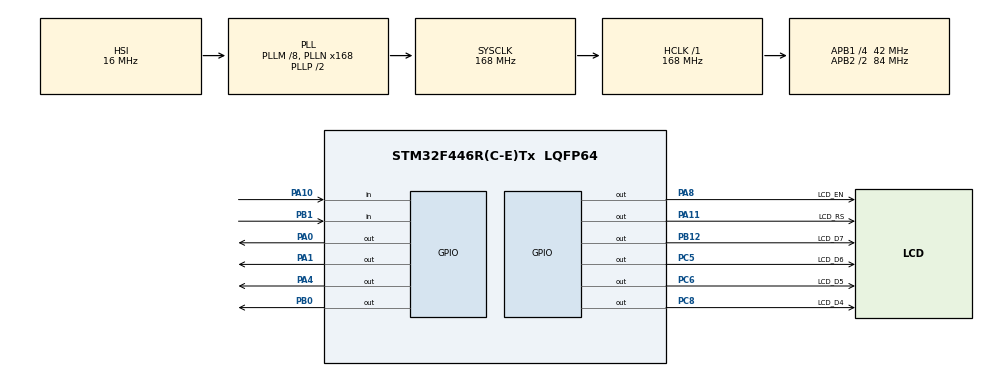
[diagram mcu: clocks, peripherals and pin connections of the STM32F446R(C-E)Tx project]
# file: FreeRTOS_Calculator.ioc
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Mcu.Family=STM32F4
Mcu.Name=STM32F446R(C-E)Tx
Mcu.Package=LQFP64
NVIC.PriorityGroup=NVIC_PRIORITYGROUP_4
NVIC.TIM6_DAC_IRQn=true\:15\:0\:true\:false\:true\:false\:true\:true
NVIC.TimeBase=TIM6_DAC_IRQn
NVIC.TimeBaseIP=TIM6
PA0-WKUP.Signal=GPIO_Output
PA1.Signal=GPIO_Output
PA10.Signal=GPIO_Input
PA11.GPIO_Label=LCD_RS
PA11.Signal=GPIO_Output
PA13.GPIO_Label=TMS
PA13.Mode=Serial_Wire
PA13.Signal=SYS_JTMS-SWDIO
PA14.GPIO_Label=TCK
PA14.Mode=Serial_Wire
PA14.Signal=SYS_JTCK-SWCLK
PA2.Signal=USART2_TX
PA3.Signal=USART2_RX
PA4.Signal=GPIO_Output
PA8.GPIO_Label=LCD_EN
PA8.Signal=GPIO_Output
PB0.Signal=GPIO_Output
PB1.Signal=GPIO_Input
PB12.GPIO_Label=LCD_D7
PB12.Signal=GPIO_Output
PB3.GPIO_Label=SWO
PB3.Signal=SYS_JTDO-SWO
PC14-OSC32_IN.Mode=LSE-External-Oscillator
PC14-OSC32_IN.Signal=RCC_OSC32_IN
PC15-OSC32_OUT.Mode=LSE-External-Oscillator
PC15-OSC32_OUT.Signal=RCC_OSC32_OUT
PC5.GPIO_Label=LCD_D6
PC5.Signal=GPIO_Output
PC6.GPIO_Label=LCD_D5
PC6.Signal=GPIO_Output
PC8.GPIO_Label=LCD_D4
PC8.Signal=GPIO_Output
PH0-OSC_IN.Mode=HSE-External-Oscillator
PH0-OSC_IN.Signal=RCC_OSC_IN
PH1-OSC_OUT.Mode=HSE-External-Oscillator
PH1-OSC_OUT.Signal=RCC_OSC_OUT
ProjectManager.HeapSize=0x200
ProjectManager.StackSize=0x400
ProjectManager.TargetToolchain=STM32CubeIDE
RCC.48MHZClocksFreq_Value=84000000
RCC.AHBFreq_Value=168000000
RCC.APB1CLKDivider=RCC_HCLK_DIV4
RCC.APB1Freq_Value=42000000
RCC.APB1TimFreq_Value=84000000
RCC.APB2CLKDivider=RCC_HCLK_DIV2
RCC.APB2Freq_Value=84000000
RCC.APB2TimFreq_Value=168000000
RCC.CortexFreq_Value=168000000
RCC.FLatency-AdvancedSettings=FLASH_LATENCY_5
RCC.HCLKFreq_Value=168000000
RCC.HSE_VALUE=8000000
RCC.HSI_VALUE=16000000
RCC.PLLM=8
RCC.PLLN=168
RCC.SYSCLKFreq_VALUE=168000000
RCC.SYSCLKSource=RCC_SYSCLKSOURCE_PLLCLK
RCC.USBFreq_Value=168000000
RCC.VCOOutputFreq_Value=336000000
VP_SYS_VS_tim6.Mode=TIM6
board=NUCLEO-F446RE

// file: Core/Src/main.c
/* USER CODE BEGIN Header */
/**
  ******************************************************************************
  * @file           : main.c
  * @brief          : Main program body
  ******************************************************************************
  * @attention
  *
  * Copyright (c) 2024 STMicroelectronics.
  * All rights reserved.
  *
  * This software is licensed under terms that can be found in the LICENSE file
  * in the root directory of this software component.
  * If no LICENSE file comes with this software, it is provided AS-IS.
  *
  ******************************************************************************
  */
/* USER CODE END Header */
#include "main.h"

/* USER CODE BEGIN Includes */
#include "FreeRTOS.h"
#include "task.h"
#include "queue.h"
#include "stdio.h"
#include "stdint.h"
#include "KEYPAD_Interface.h"
#include "LCD1602.h"

/* USER CODE END Includes */

/* USER CODE BEGIN PD */
#define DWT_CTRL		*((volatile uint32_t*)0xE0001000 )
/* USER CODE END PD */

/* USER CODE BEGIN PV */
TaskHandle_t KPTaskHandle, LCDTaskHandle, CalculationTaskHandle;
int32_t G_i32ArrNumbers[10];
uint8_t G_u8ArrOperations[9];

QueueHandle_t xQueueInputNumbers;
QueueHandle_t xQueueInputOperations;

/* USER CODE END PV */

void SystemClock_Config(void);
static void MX_GPIO_Init(void);
/* USER CODE BEGIN PFP */

void KPTaskHandler(void * Parameters);
void LCDTaskHandler(void * Parameters);
void CalculationTaskHandler(void * Parameters);
void UserButtonTaskHandler(void );

/* USER CODE END PFP */

int main(void)
{
  /* USER CODE BEGIN 1 */

	BaseType_t Local_Status;

  /* USER CODE END 1 */

  /* MCU Configuration--------------------------------------------------------*/

  /* Reset of all peripherals, Initializes the Flash interface and the Systick. */
  HAL_Init();

  /* Configure the system clock */
  SystemClock_Config();

  /* Initialize all configured peripherals */
  MX_GPIO_Init();
  /* USER CODE BEGIN 2 */

  /* Enable Cycle counter feature of the processor */
  DWT_CTRL |= 1;

  SEGGER_UART_init(500000);

  /* Configure Sysview target source files and start recording */
  SEGGER_SYSVIEW_Conf();
//  SEGGER_SYSVIEW_Start();

  lcd_init();
  lcd_clear();
  lcd_send_string("Advanced Calculator");
  HAL_Delay(1000);
  lcd_clear();

  xQueueInputNumbers = xQueueCreate(10, sizeof(int32_t));
  xQueueInputOperations = xQueueCreate(10, sizeof(uint8_t));

  Local_Status = xTaskCreate(KPTaskHandler, "KEYPAD", 300, NULL, 3, &KPTaskHandle);

  configASSERT(Local_Status  == pdPASS);

  Local_Status = xTaskCreate(LCDTaskHandler, "LCD", 400, NULL, 1, &LCDTaskHandle);

  configASSERT(Local_Status  == pdPASS);

  Local_Status = xTaskCreate(CalculationTaskHandler, "Calculation", 300, NULL, 2, &CalculationTaskHandle);

  configASSERT(Local_Status  == pdPASS);

//  Local_Status = xTaskCreate(UserButtonTaskHandler, "User-Button", 200, NULL, 3, &TasksHandle[3]);

  configASSERT(Local_Status  == pdPASS);

  vTaskStartScheduler();

  /* USER CODE END 2 */

  /* Infinite loop */
  while (1)
  {

  }
}

void SystemClock_Config(void)
{
  RCC_OscInitTypeDef RCC_OscInitStruct = {0};
  RCC_ClkInitTypeDef RCC_ClkInitStruct = {0};

  /** Configure the main internal regulator output voltage
  */
  __HAL_RCC_PWR_CLK_ENABLE();
  __HAL_PWR_VOLTAGESCALING_CONFIG(PWR_REGULATOR_VOLTAGE_SCALE1);

  /** Initializes the RCC Oscillators according to the specified parameters
  * in the RCC_OscInitTypeDef structure.
  */
  RCC_OscInitStruct.OscillatorType = RCC_OSCILLATORTYPE_HSI;
  RCC_OscInitStruct.HSIState = RCC_HSI_ON;
  RCC_OscInitStruct.HSICalibrationValue = RCC_HSICALIBRATION_DEFAULT;
  RCC_OscInitStruct.PLL.PLLState = RCC_PLL_ON;
  RCC_OscInitStruct.PLL.PLLSource = RCC_PLLSOURCE_HSI;
  RCC_OscInitStruct.PLL.PLLM = 8;
  RCC_OscInitStruct.PLL.PLLN = 168;
  RCC_OscInitStruct.PLL.PLLP = RCC_PLLP_DIV2;
  RCC_OscInitStruct.PLL.PLLQ = 2;
  RCC_OscInitStruct.PLL.PLLR = 2;
  if (HAL_RCC_OscConfig(&RCC_OscInitStruct) != HAL_OK)
  {
    Error_Handler();
  }

  /** Initializes the CPU, AHB and APB buses clocks
  */
  RCC_ClkInitStruct.ClockType = RCC_CLOCKTYPE_HCLK|RCC_CLOCKTYPE_SYSCLK
                              |RCC_CLOCKTYPE_PCLK1|RCC_CLOCKTYPE_PCLK2;
  RCC_ClkInitStruct.SYSCLKSource = RCC_SYSCLKSOURCE_PLLCLK;
  RCC_ClkInitStruct.AHBCLKDivider = RCC_SYSCLK_DIV1;
  RCC_ClkInitStruct.APB1CLKDivider = RCC_HCLK_DIV4;
  RCC_ClkInitStruct.APB2CLKDivider = RCC_HCLK_DIV2;

  if (HAL_RCC_ClockConfig(&RCC_ClkInitStruct, FLASH_LATENCY_5) != HAL_OK)
  {
    Error_Handler();
  }
}

static void MX_GPIO_Init(void)
{
  GPIO_InitTypeDef GPIO_InitStruct = {0};

  /* GPIO Ports Clock Enable */
  __HAL_RCC_GPIOC_CLK_ENABLE();
  __HAL_RCC_GPIOH_CLK_ENABLE();
  __HAL_RCC_GPIOA_CLK_ENABLE();
  __HAL_RCC_GPIOB_CLK_ENABLE();

  /*Configure GPIO pin Output Level */
  HAL_GPIO_WritePin(GPIOA, GPIO_PIN_0|GPIO_PIN_1|GPIO_PIN_4|LCD_EN_Pin
                          |LCD_RS_Pin, GPIO_PIN_RESET);

  /*Configure GPIO pin Output Level */
  HAL_GPIO_WritePin(GPIOC, LCD_D6_Pin|LCD_D5_Pin|LCD_D4_Pin, GPIO_PIN_RESET);

  /*Configure GPIO pin Output Level */
  HAL_GPIO_WritePin(GPIOB, GPIO_PIN_0|LCD_D7_Pin, GPIO_PIN_RESET);

  /*Configure GPIO pins : PA0 PA1 PA4 LCD_EN_Pin
                           LCD_RS_Pin */
  GPIO_InitStruct.Pin = GPIO_PIN_0|GPIO_PIN_1|GPIO_PIN_4|LCD_EN_Pin
                          |LCD_RS_Pin;
  GPIO_InitStruct.Mode = GPIO_MODE_OUTPUT_PP;
  GPIO_InitStruct.Pull = GPIO_NOPULL;
  GPIO_InitStruct.Speed = GPIO_SPEED_FREQ_LOW;
  HAL_GPIO_Init(GPIOA, &GPIO_InitStruct);

  /*Configure GPIO pins : PA2 PA3 */
  GPIO_InitStruct.Pin = GPIO_PIN_2|GPIO_PIN_3;
  GPIO_InitStruct.Mode = GPIO_MODE_AF_PP;
  GPIO_InitStruct.Pull = GPIO_NOPULL;
  GPIO_InitStruct.Speed = GPIO_SPEED_FREQ_VERY_HIGH;
  GPIO_InitStruct.Alternate = GPIO_AF7_USART2;
  HAL_GPIO_Init(GPIOA, &GPIO_InitStruct);

  /*Configure GPIO pins : LCD_D6_Pin LCD_D5_Pin LCD_D4_Pin */
  GPIO_InitStruct.Pin = LCD_D6_Pin|LCD_D5_Pin|LCD_D4_Pin;
  GPIO_InitStruct.Mode = GPIO_MODE_OUTPUT_PP;
  GPIO_InitStruct.Pull = GPIO_NOPULL;
  GPIO_InitStruct.Speed = GPIO_SPEED_FREQ_LOW;
  HAL_GPIO_Init(GPIOC, &GPIO_InitStruct);

  /*Configure GPIO pins : PB0 LCD_D7_Pin */
  GPIO_InitStruct.Pin = GPIO_PIN_0|LCD_D7_Pin;
  GPIO_InitStruct.Mode = GPIO_MODE_OUTPUT_PP;
  GPIO_InitStruct.Pull = GPIO_NOPULL;
  GPIO_InitStruct.Speed = GPIO_SPEED_FREQ_LOW;
  HAL_GPIO_Init(GPIOB, &GPIO_InitStruct);

  /*Configure GPIO pin : PB1 */
  GPIO_InitStruct.Pin = GPIO_PIN_1;
  GPIO_InitStruct.Mode = GPIO_MODE_INPUT;
  GPIO_InitStruct.Pull = GPIO_NOPULL;
  HAL_GPIO_Init(GPIOB, &GPIO_InitStruct);

  /*Configure GPIO pin : PA10 */
  GPIO_InitStruct.Pin = GPIO_PIN_10;
  GPIO_InitStruct.Mode = GPIO_MODE_INPUT;
  GPIO_InitStruct.Pull = GPIO_NOPULL;
  HAL_GPIO_Init(GPIOA, &GPIO_InitStruct);

}

/* USER CODE BEGIN 4 */
void KPTaskHandler(void * Parameters)
{
	char L_pu8String[50];
	uint8_t  L_u8KeyPadReadValue = 0 , L_u8KeyPadLastValue = 0  ;
	static uint8_t L_u8CountPress = 0;
	TickType_t xLastWakeTime= xTaskGetTickCount();

	while(1)
	{

		L_u8KeyPadReadValue = KEYPAD_read();

		if(L_u8KeyPadReadValue )
		{
			snprintf(L_pu8String, 50, "KP Value is %c\n", L_u8KeyPadReadValue);
			SEGGER_SYSVIEW_PrintfTarget(L_pu8String);

			if(L_u8KeyPadReadValue == 'c' && (L_u8KeyPadLastValue != L_u8KeyPadReadValue) )
			{
				/* clear everything */
				xQueueReset(xQueueInputOperations);
				xQueueReset(xQueueInputNumbers);
				lcd_clear();
				lcd_put_cur(0, 0);

			}/* For Long press Button */
			else if( (L_u8KeyPadLastValue == L_u8KeyPadReadValue) && L_u8KeyPadReadValue >= '0' && L_u8KeyPadReadValue <= '9')
			{
				L_u8CountPress ++;
				if(L_u8CountPress >= 20)
				{
					L_u8CountPress -=4;

					/* read this num Notify */
					xTaskNotify(LCDTaskHandle,L_u8KeyPadReadValue,eSetValueWithOverwrite);
				}

			}
			else if(L_u8KeyPadLastValue != L_u8KeyPadReadValue)
			{
				L_u8KeyPadLastValue  = L_u8KeyPadReadValue;
				L_u8CountPress = 0;
				xTaskNotify(LCDTaskHandle,(uint32_t)L_u8KeyPadReadValue,eSetValueWithOverwrite);
			}
		}
		else
		{
			L_u8CountPress = 0;
			L_u8KeyPadLastValue  = L_u8KeyPadReadValue;
		}

		vTaskDelayUntil(&xLastWakeTime,pdMS_TO_TICKS(20) );

	}
}

void LCDTaskHandler(void * Parameters)
{
	uint8_t ulNotifiedValue ;
	static uint8_t L_u8OpFlag=0 , L_u8Negative=0;
	char L_pu8String[50];

	int32_t L_i32NUM = 0;
	while(1)
	{
		xTaskNotifyWait(0,0,(uint32_t*)&ulNotifiedValue,portMAX_DELAY);

		snprintf(L_pu8String, 50, "LCD Print %c\n", ulNotifiedValue);
		SEGGER_SYSVIEW_PrintfTarget(L_pu8String);

		lcd_send_data(ulNotifiedValue);

		if( ulNotifiedValue >= '0' && ulNotifiedValue <= '9')
		{
			L_i32NUM = (L_i32NUM*10) + (ulNotifiedValue-'0');
		}
		else
		{
			if (L_u8Negative)
			{
				L_i32NUM*=(-1);
				L_u8Negative = 0;
			}
			xQueueSendToFront(xQueueInputNumbers, &L_i32NUM, 0);

			L_i32NUM = 0;

			/* send Notification to calculate Mul or Div first */
			if( L_u8OpFlag  || ( (uxQueueMessagesWaiting(xQueueInputOperations) > 0) && ( ulNotifiedValue == '+' || ulNotifiedValue == '-' ) )  )
			{
				/**/
				xTaskNotify(CalculationTaskHandle,0,eSetValueWithOverwrite);
				L_u8OpFlag = 0 ;
			}

			if( ulNotifiedValue == '*' || ulNotifiedValue == '/')
			{
				L_u8OpFlag = 1;
			}
			else if( ulNotifiedValue == '-')
			{
				ulNotifiedValue = '+';
				L_u8Negative = 1;
			}
			else if (ulNotifiedValue == '=')
			{
				/* stop and start calculations over all Queue */
				xTaskNotify(CalculationTaskHandle,1,eSetValueWithOverwrite);
				ulNotifiedValue=0;

			}

			xQueueSendToFront(xQueueInputOperations, &ulNotifiedValue, 0);

		}
	}
}

void CalculationTaskHandler(void * Parameters)
{
	uint8_t ulNotifiedValue , Operation;
	int32_t N1,N2;

	char Lcd_string[10];

	while(1)
	{
		xTaskNotifyWait(0,0,(uint32_t*)&ulNotifiedValue,portMAX_DELAY);

		/* check notification Value */
		if(ulNotifiedValue == 0 )
		{
			/* Do one operation */
			xQueueReceive(xQueueInputNumbers, &N2,0);
			xQueueReceive(xQueueInputNumbers, &N1,0);
			xQueueReceive(xQueueInputOperations, &Operation,0);

			switch(Operation)
			{
			case '*': N1 *= N2; break;
			case '/': N1 /= N2; break;
			case '+': N1 += N2; break;
			case '-': N1 -= N2; break;
			default: break;
			}
			xQueueSendToFront(xQueueInputNumbers, &N1, 0);

		}
		else
		{
			while(uxQueueMessagesWaiting(xQueueInputOperations) > 0)
			{
				/* Do one operation */
				xQueueReceive(xQueueInputNumbers, &N2,0);
				xQueueReceive(xQueueInputNumbers, &N1,0);
				xQueueReceive(xQueueInputOperations, &Operation,0);

				switch(Operation)
				{
				case '*': N1 *= N2; break;
				case '/': N1 /= N2; break;
				case '+': N1 += N2; break;
				case '-': N1 -= N2; break;
				default: break;
				}
				xQueueSendToFront(xQueueInputNumbers, &N1, 0);

			}
			xQueueReset(xQueueInputOperations);
			xQueueReset(xQueueInputNumbers);
			/* receive Last Item in Queue and display it on LCD */
			itoa(N1,Lcd_string,10);
			SEGGER_SYSVIEW_PrintfTarget("result is");
			SEGGER_SYSVIEW_PrintfTarget(Lcd_string);
			lcd_put_cur(1,8);
			lcd_send_data('=');
			lcd_send_string(Lcd_string);

		}

	}
}

/* USER CODE END 4 */

void HAL_TIM_PeriodElapsedCallback(TIM_HandleTypeDef *htim)
{
  if (htim->Instance == TIM6) {
    HAL_IncTick();
  }
}

void Error_Handler(void)
{
  __disable_irq();
  while (1)
  {
  }
}
